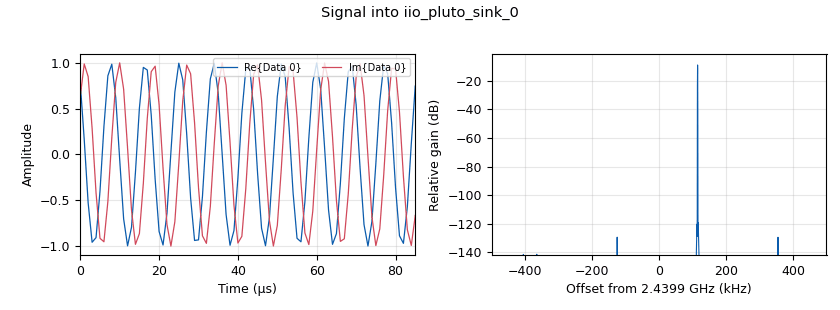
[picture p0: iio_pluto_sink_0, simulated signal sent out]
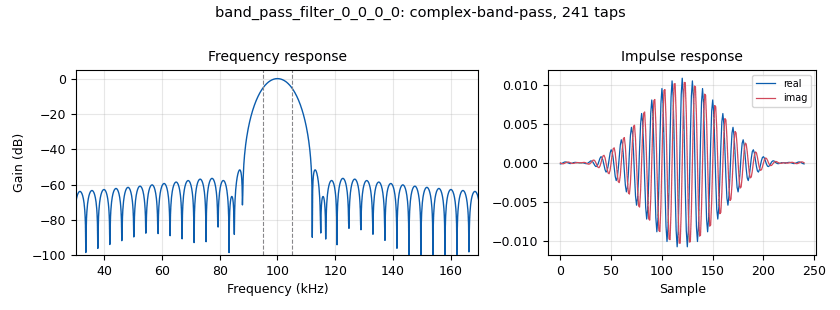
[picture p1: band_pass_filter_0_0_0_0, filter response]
options:
  parameters:
    generate_options: no_gui
    id: run_aoa_acc_sig_pow_meas
    output_language: python
    run_options: run
    title: AoA accuracy and signal power measurment
  states: {}

blocks:
- name: center_frequency
  id: variable
  parameters:
    value: int(2.4399e+9)
  states: {}
- name: master_freq
  id: variable
  parameters:
    value: 30e6
  states: {}
- name: n_saved_sampl
  id: variable
  parameters:
    value: int(samp_rate/(snap_size-overlap_size)*60)
  states: {}
- name: overlap_size
  id: variable
  parameters:
    value: '1024'
  states: {}
- name: pluto_samp_rate
  id: variable
  parameters:
    value: int(1e6)
  states: {}
- name: rx_gain
  id: variable
  parameters:
    value: '60'
  states: {}
- name: samp_rate
  id: variable
  parameters:
    value: int(1E+6)
  states: {}
- name: snap_size
  id: variable
  parameters:
    value: '2048'
  states: {}
- name: analog_const_source_x_0
  id: analog_const_source_x
  parameters:
    const: phase_coeff
    type: float
  states: {}
- name: analog_sig_source_x_0_0
  id: analog_sig_source_x
  parameters:
    amp: '1'
    freq: '115e+3'
    offset: '0'
    phase: '0'
    samp_rate: pluto_samp_rate
    type: complex
    waveform: analog.GR_COS_WAVE
  states: {}
- name: aoa_autocorrelate_0
  id: aoa_autocorrelate
  parameters:
    avg_method: '0'
    num_inputs: '2'
    overlap_size: overlap_size
    snapshot_size: snap_size
  states: {}
- name: aoa_filename
  id: parameter
  parameters:
    type: str
    value: '""'
  states: {}
- name: aoa_head_w_rst_0
  id: aoa_head_w_rst
  parameters:
    dump_buff: 'True'
    num_items: int(1e4*60)
    type: float
    vlen: '1'
  states: {}
- name: aoa_precise_moving_average_0
  id: aoa_precise_moving_average
  parameters:
    length: int(1e6)
    max_iter: int(1e6)
  states: {}
- name: aoa_rootMUSIC_linear_array_0
  id: aoa_rootMUSIC_linear_array
  parameters:
    norm_spacing: '0.5'
    num_inputs: '2'
    num_targets: '1'
  states: {}
- name: aoa_shift_phase_0
  id: aoa_shift_phase
  parameters:
    dummy_param: ''
  states: {}
- name: band_pass_filter_0_0_0_0
  id: band_pass_filter
  parameters:
    decim: '1'
    gain: '1'
    high_cutoff_freq: 105e3
    low_cutoff_freq: 95e3
    samp_rate: samp_rate
    type: fir_filter_ccc
    width: 10e3
    win: firdes.WIN_HAMMING
  states: {}
- name: band_pass_filter_0_0_0_0_0
  id: band_pass_filter
  parameters:
    decim: '1'
    gain: '1'
    high_cutoff_freq: 105e3
    low_cutoff_freq: 95e3
    samp_rate: samp_rate
    type: fir_filter_ccc
    width: 10e3
    win: firdes.WIN_HAMMING
  states: {}
- name: blocks_add_const_vxx_0
  id: blocks_add_const_vxx
  parameters:
    const: '-90'
    type: float
  states: {}
- name: blocks_complex_to_mag_squared_0
  id: blocks_complex_to_mag_squared
  parameters: {}
  states: {}
- name: blocks_file_sink_0
  id: blocks_file_sink
  parameters:
    file: aoa_filename
    type: float
  states: {}
- name: blocks_file_sink_0_1
  id: blocks_file_sink
  parameters:
    file: snr_filename
    type: float
  states: {}
- name: blocks_head_0
  id: blocks_head
  parameters:
    num_items: n_saved_sampl
    type: float
  states: {}
- name: blocks_head_1
  id: blocks_head
  parameters:
    num_items: pluto_samp_rate*80
    type: complex
  states: {}
- name: blocks_multiply_const_vxx_0
  id: blocks_multiply_const_vxx
  parameters:
    const: float(1e6)
    type: float
  states: {}
- name: blocks_skiphead_0
  id: blocks_skiphead
  parameters:
    num_items: int(1e7)
    type: complex
  states: {}
- name: blocks_skiphead_0_0
  id: blocks_skiphead
  parameters:
    num_items: int(1e7)
    type: complex
  states: {}
- name: blocks_skiphead_1
  id: blocks_skiphead
  parameters:
    num_items: int(1e6)
    type: float
  states: {}
- name: fir_filter_xxx_0_2_1
  id: fir_filter_xxx
  parameters:
    decim: '100'
    taps: '1'
    type: fff
  states: {}
- name: iio_pluto_sink_0
  id: iio_pluto_sink
  parameters:
    attenuation1: src_att
    auto_filter: 'True'
    bandwidth: pluto_samp_rate
    buffer_size: 2**18
    cyclic: 'False'
    frequency: center_frequency
    samplerate: pluto_samp_rate
    uri: 192.168.0.40
  states: {}
- name: phase_coeff
  id: parameter
  parameters:
    type: eng_float
    value: '0'
  states: {}
- name: snr_filename
  id: parameter
  parameters:
    type: str
    value: '""'
  states: {}
- name: src_att
  id: parameter
  parameters:
    type: intx
    value: '30'
  states: {}
- name: uhd_usrp_source_0
  id: uhd_usrp_source
  parameters:
    ant0: RX2
    ant1: RX2
    bw0: samp_rate
    bw1: samp_rate
    center_freq0: center_frequency
    center_freq1: center_frequency
    dc_offs_enb0: 'True'
    dc_offs_enb1: 'True'
    dev_args: '"num_recv_frames=1024, master_clock_rate= %f" % master_freq'
    gain0: rx_gain
    gain1: rx_gain
    iq_imbal_enb0: 'True'
    iq_imbal_enb1: 'True'
    nchan: '2'
    norm_gain0: 'False'
    norm_gain1: 'False'
    samp_rate: samp_rate
    sync: sync
    type: fc32
  states: {}

connections:
- [analog_const_source_x_0, '0', aoa_shift_phase_0, '1']
- [analog_sig_source_x_0_0, '0', blocks_head_1, '0']
- [aoa_autocorrelate_0, '0', aoa_rootMUSIC_linear_array_0, '0']
- [aoa_head_w_rst_0, '0', blocks_file_sink_0_1, '0']
- [aoa_precise_moving_average_0, '0', blocks_skiphead_1, '0']
- [aoa_rootMUSIC_linear_array_0, '0', blocks_head_0, '0']
- [aoa_shift_phase_0, '0', aoa_autocorrelate_0, '1']
- [band_pass_filter_0_0_0_0, '0', aoa_autocorrelate_0, '0']
- [band_pass_filter_0_0_0_0, '0', blocks_complex_to_mag_squared_0, '0']
- [band_pass_filter_0_0_0_0_0, '0', aoa_shift_phase_0, '0']
- [blocks_add_const_vxx_0, '0', blocks_file_sink_0, '0']
- [blocks_complex_to_mag_squared_0, '0', blocks_multiply_const_vxx_0, '0']
- [blocks_head_0, '0', blocks_add_const_vxx_0, '0']
- [blocks_head_1, '0', iio_pluto_sink_0, '0']
- [blocks_multiply_const_vxx_0, '0', aoa_precise_moving_average_0, '0']
- [blocks_skiphead_0, '0', band_pass_filter_0_0_0_0, '0']
- [blocks_skiphead_0_0, '0', band_pass_filter_0_0_0_0_0, '0']
- [blocks_skiphead_1, '0', fir_filter_xxx_0_2_1, '0']
- [fir_filter_xxx_0_2_1, '0', aoa_head_w_rst_0, '0']
- [uhd_usrp_source_0, '0', blocks_skiphead_0, '0']
- [uhd_usrp_source_0, '1', blocks_skiphead_0_0, '0']

metadata:
  file_format: 1
